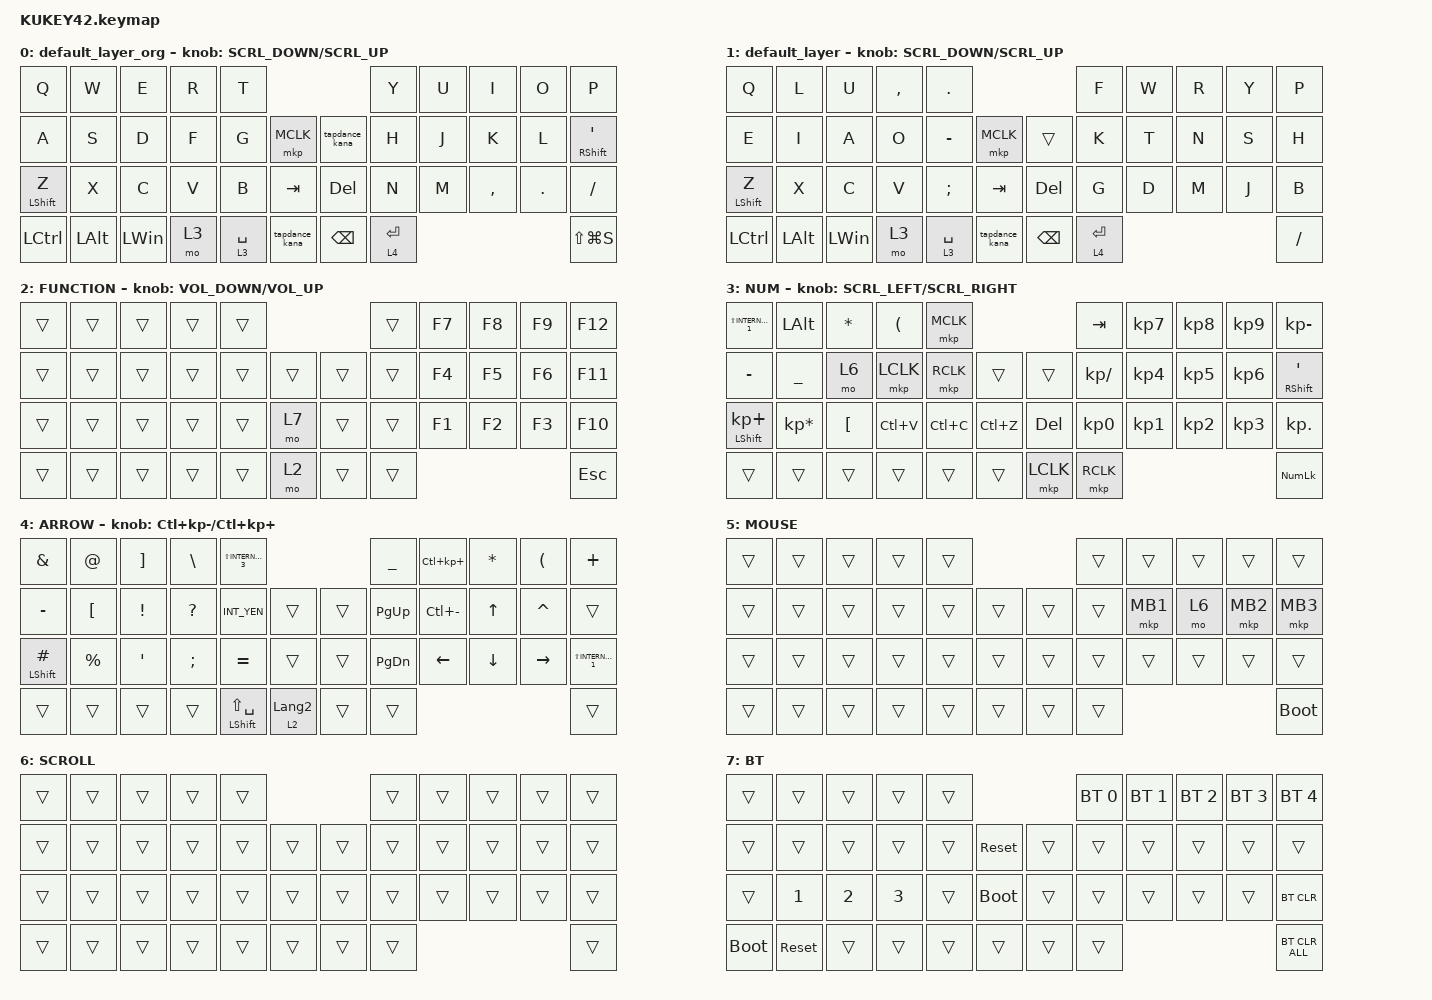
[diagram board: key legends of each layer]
#define ZMK_POINTING_DEFAULT_SCRL_VAL 80

#include <behaviors.dtsi>
#include <dt-bindings/zmk/bt.h>
#include <dt-bindings/zmk/keys.h>
#include <dt-bindings/zmk/pointing.h>

#define MOUSE 4
#define SCROLL 5
#define NUM 6

&mt {
    flavor = "balanced";
    quick-tap-ms = <0>;
};

/ {
    combos { compatible = "zmk,combos"; };

    macros {
        to_layer_0: to_layer_0 {
            compatible = "zmk,behavior-macro-one-param";
            #binding-cells = <1>;
            bindings = <&to 0 &macro_param_1to1 &kp MACRO_PLACEHOLDER>;
            label = "TO_LAYER_0";
        };
    };

    behaviors {
        lt_to_layer_0: lt_to_layer_0 {
            compatible = "zmk,behavior-hold-tap";
            label = "LAYER_TAP_TO_0";
            bindings = <&mo>, <&to_layer_0>;

            #binding-cells = <2>;
            tapping-term-ms = <200>;
        };

        tapdance_kana: tapdance_kana {
            compatible = "zmk,behavior-tap-dance";
            label = "TAPDANCE_KANA";
            #binding-cells = <0>;
            bindings =
                <&to 0>,
                <&to 1>,
                <&to 2>,
                <&to 3>,
                <&to 4>,
                <&to 5>,
                <&to 6>,
                <&to 7>;

            tapping-term-ms = <400>;
        };

        WheelScroll: WheelScroll {
            compatible = "zmk,behavior-sensor-rotate-var";
            label = "WHEELSCROLL";
            #sensor-binding-cells = <2>;
            bindings = <&msc>, <&msc>;

            tap-ms = <20>;
        };
    };

    keymap {
        compatible = "zmk,keymap";

        default_layer_org {
            bindings = <
&kp Q             &kp W         &kp E         &kp R  &kp T                                            &kp Y        &kp U  &kp I      &kp O    &kp P
&kp A             &kp S         &kp D         &kp F  &kp G        &mkp MCLK           &tapdance_kana  &kp H        &kp J  &kp K      &kp L    &mt RIGHT_SHIFT SQT
&mt LEFT_SHIFT Z  &kp X         &kp C         &kp V  &kp B        &kp TAB             &kp DEL         &kp N        &kp M  &kp COMMA  &kp DOT  &kp SLASH
&kp LCTRL         &kp LEFT_ALT  &kp LEFT_WIN  &mo 3  &lt 3 SPACE  &tapdance_kana      &kp BACKSPACE   &lt 4 ENTER                             &kp LS(LG(S))
            >;

            sensor-bindings = <&WheelScroll SCRL_DOWN SCRL_UP>;
        };

        default_layer {
            bindings = <
&kp Q             &kp L         &kp U         &kp COMMA  &kp DOT                                           &kp F        &kp W  &kp R  &kp Y  &kp P
&kp E             &kp I         &kp A         &kp O      &kp MINUS      &mkp MCLK           &trans         &kp K        &kp T  &kp N  &kp S  &kp H
&mt LEFT_SHIFT Z  &kp X         &kp C         &kp V      &kp SEMICOLON  &kp TAB             &kp DEL        &kp G        &kp D  &kp M  &kp J  &kp B
&kp LCTRL         &kp LEFT_ALT  &kp LEFT_WIN  &mo 3      &lt 3 SPACE    &tapdance_kana      &kp BACKSPACE  &lt 4 ENTER                       &kp SLASH
            >;

            sensor-bindings = <&WheelScroll SCRL_DOWN SCRL_UP>;
        };

        FUNCTION {
            bindings = <
&trans  &trans  &trans  &trans  &trans                      &trans  &kp F7  &kp F8  &kp F9  &kp F12
&trans  &trans  &trans  &trans  &trans  &trans      &trans  &trans  &kp F4  &kp F5  &kp F6  &kp F11
&trans  &trans  &trans  &trans  &trans  &mo 7       &trans  &trans  &kp F1  &kp F2  &kp F3  &kp F10
&trans  &trans  &trans  &trans  &trans  &mo 2       &trans  &trans                          &kp ESCAPE
            >;

            sensor-bindings = <&inc_dec_kp C_VOLUME_DOWN C_VOLUME_UP>;
        };

        NUM {
            bindings = <
&kp LS(INTERNATIONAL_1)  &kp LEFT_ALT     &kp ASTERISK      &kp LEFT_PARENTHESIS  &mkp MCLK                             &kp TAB       &kp KP_NUMBER_7  &kp KP_NUMBER_8  &kp KP_NUMBER_9  &kp KP_MINUS
&kp MINUS                &kp UNDERSCORE   &mo 6             &mkp LCLK             &mkp RCLK  &trans         &trans      &kp KP_SLASH  &kp KP_NUMBER_4  &kp KP_NUMBER_5  &kp KP_NUMBER_6  &mt RIGHT_SHIFT SINGLE_QUOTE
&mt LEFT_SHIFT KP_PLUS   &kp KP_ASTERISK  &kp LEFT_BRACKET  &kp LC(V)             &kp LC(C)  &kp LC(Z)      &kp DELETE  &kp KP_N0     &kp KP_NUMBER_1  &kp KP_NUMBER_2  &kp KP_NUMBER_3  &kp KP_DOT
&trans                   &trans           &trans            &trans                &trans     &trans         &mkp LCLK   &mkp RCLK                                                        &kp KP_NUMLOCK
            >;

            sensor-bindings = <&WheelScroll SCRL_LEFT SCRL_RIGHT>;
        };

        ARROW {
            bindings = <
&kp AMPERSAND        &kp AT_SIGN       &kp RIGHT_BRACKET  &kp BACKSLASH  &kp LS(INTERNATIONAL_3)                                 &kp UNDER      &kp LC(KP_PLUS)  &kp ASTERISK    &kp LEFT_PARENTHESIS  &kp PLUS
&kp MINUS            &kp LEFT_BRACKET  &kp EXCLAMATION    &kp QUESTION   &kp INT_YEN               &trans                &trans  &kp PAGE_UP    &kp LC(MINUS)    &kp UP_ARROW    &kp CARET             &trans
&mt LEFT_SHIFT HASH  &kp PERCENT       &kp SINGLE_QUOTE   &kp SEMICOLON  &kp EQUAL                 &trans                &trans  &kp PAGE_DOWN  &kp LEFT_ARROW   &kp DOWN_ARROW  &kp RIGHT_ARROW       &kp LS(INTERNATIONAL_1)
&trans               &trans            &trans             &trans         &mt LEFT_SHIFT LS(SPACE)  &lt 2 LANGUAGE_2      &trans  &trans                                                                &trans
            >;

            sensor-bindings = <&inc_dec_kp LC(KP_MINUS) LC(KP_PLUS)>;
        };

        MOUSE {
            bindings = <
&trans  &trans  &trans  &trans  &trans                      &trans  &trans    &trans  &trans    &trans
&trans  &trans  &trans  &trans  &trans  &trans      &trans  &trans  &mkp MB1  &mo 6   &mkp MB2  &mkp MB3
&trans  &trans  &trans  &trans  &trans  &trans      &trans  &trans  &trans    &trans  &trans    &trans
&trans  &trans  &trans  &trans  &trans  &trans      &trans  &trans                              &bootloader
            >;
        };

        SCROLL {
            bindings = <
&trans  &trans  &trans  &trans  &trans                      &trans  &trans  &trans  &trans  &trans
&trans  &trans  &trans  &trans  &trans  &trans      &trans  &trans  &trans  &trans  &trans  &trans
&trans  &trans  &trans  &trans  &trans  &trans      &trans  &trans  &trans  &trans  &trans  &trans
&trans  &trans  &trans  &trans  &trans  &trans      &trans  &trans                          &trans
            >;
        };

        BT {
            bindings = <
&trans       &trans        &trans        &trans        &trans                           &bt BT_SEL 0  &bt BT_SEL 1  &bt BT_SEL 2  &bt BT_SEL 3  &bt BT_SEL 4
&trans       &trans        &trans        &trans        &trans  &sys_reset       &trans  &trans        &trans        &trans        &trans        &trans
&trans       &kp NUMBER_1  &kp NUMBER_2  &kp NUMBER_3  &trans  &bootloader      &trans  &trans        &trans        &trans        &trans        &bt BT_CLR
&bootloader  &sys_reset    &trans        &trans        &trans  &trans           &trans  &trans                                                  &bt BT_CLR_ALL
            >;
        };
    };
};
